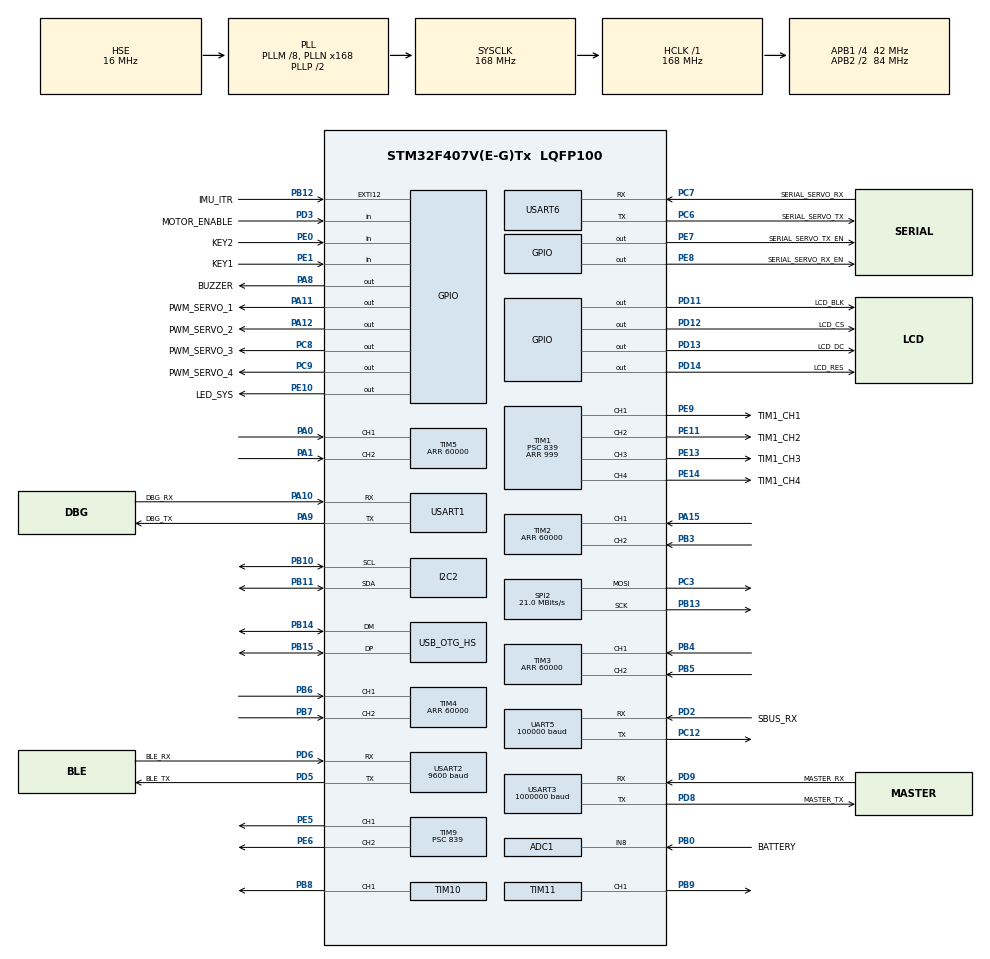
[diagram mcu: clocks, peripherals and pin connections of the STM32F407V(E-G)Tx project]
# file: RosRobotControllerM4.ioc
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ADC1.Channel-4\#ChannelRegularConversion=ADC_CHANNEL_VREFINT
ADC1.Channel-5\#ChannelRegularConversion=ADC_CHANNEL_8
ADC1.ClockPrescaler=ADC_CLOCK_SYNC_PCLK_DIV8
ADC1.ContinuousConvMode=DISABLE
ADC1.EOCSelection=ADC_EOC_SEQ_CONV
ADC1.NbrOfConversion=2
ADC1.NbrOfConversionFlag=1
ADC1.Rank-4\#ChannelRegularConversion=1
ADC1.Rank-5\#ChannelRegularConversion=2
ADC1.SamplingTime-4\#ChannelRegularConversion=ADC_SAMPLETIME_480CYCLES
ADC1.SamplingTime-5\#ChannelRegularConversion=ADC_SAMPLETIME_480CYCLES
ADC1.master=1
Dma.ADC1.8.Direction=DMA_PERIPH_TO_MEMORY
Dma.ADC1.8.FIFOMode=DMA_FIFOMODE_DISABLE
Dma.ADC1.8.Instance=DMA2_Stream0
Dma.ADC1.8.MemDataAlignment=DMA_MDATAALIGN_HALFWORD
Dma.ADC1.8.MemInc=DMA_MINC_ENABLE
Dma.ADC1.8.Mode=DMA_CIRCULAR
Dma.ADC1.8.PeriphDataAlignment=DMA_PDATAALIGN_HALFWORD
Dma.ADC1.8.PeriphInc=DMA_PINC_DISABLE
Dma.ADC1.8.Priority=DMA_PRIORITY_LOW
Dma.I2C2_RX.0.Direction=DMA_PERIPH_TO_MEMORY
Dma.I2C2_RX.0.FIFOMode=DMA_FIFOMODE_DISABLE
Dma.I2C2_RX.0.Instance=DMA1_Stream2
Dma.I2C2_RX.0.MemDataAlignment=DMA_MDATAALIGN_BYTE
Dma.I2C2_RX.0.MemInc=DMA_MINC_ENABLE
Dma.I2C2_RX.0.Mode=DMA_NORMAL
Dma.I2C2_RX.0.PeriphDataAlignment=DMA_PDATAALIGN_BYTE
Dma.I2C2_RX.0.PeriphInc=DMA_PINC_DISABLE
Dma.I2C2_RX.0.Priority=DMA_PRIORITY_VERY_HIGH
Dma.I2C2_TX.1.Direction=DMA_MEMORY_TO_PERIPH
Dma.I2C2_TX.1.FIFOMode=DMA_FIFOMODE_DISABLE
Dma.I2C2_TX.1.Instance=DMA1_Stream7
Dma.I2C2_TX.1.MemDataAlignment=DMA_MDATAALIGN_BYTE
Dma.I2C2_TX.1.MemInc=DMA_MINC_ENABLE
Dma.I2C2_TX.1.Mode=DMA_NORMAL
Dma.I2C2_TX.1.PeriphDataAlignment=DMA_PDATAALIGN_BYTE
Dma.I2C2_TX.1.PeriphInc=DMA_PINC_DISABLE
Dma.I2C2_TX.1.Priority=DMA_PRIORITY_VERY_HIGH
Dma.Request0=I2C2_RX
Dma.Request1=I2C2_TX
Dma.Request2=UART5_RX
Dma.Request3=USART3_RX
Dma.Request4=USART3_TX
Dma.Request5=SPI2_TX
Dma.Request6=USART2_RX
Dma.Request7=USART2_TX
Dma.Request8=ADC1
Dma.SPI2_TX.5.Direction=DMA_MEMORY_TO_PERIPH
Dma.SPI2_TX.5.FIFOMode=DMA_FIFOMODE_DISABLE
Dma.SPI2_TX.5.Instance=DMA1_Stream4
Dma.SPI2_TX.5.MemDataAlignment=DMA_MDATAALIGN_BYTE
Dma.SPI2_TX.5.MemInc=DMA_MINC_ENABLE
Dma.SPI2_TX.5.Mode=DMA_NORMAL
Dma.SPI2_TX.5.PeriphDataAlignment=DMA_PDATAALIGN_BYTE
Dma.SPI2_TX.5.PeriphInc=DMA_PINC_DISABLE
Dma.SPI2_TX.5.Priority=DMA_PRIORITY_LOW
Dma.UART5_RX.2.Direction=DMA_PERIPH_TO_MEMORY
Dma.UART5_RX.2.FIFOMode=DMA_FIFOMODE_DISABLE
Dma.UART5_RX.2.Instance=DMA1_Stream0
Dma.UART5_RX.2.MemDataAlignment=DMA_MDATAALIGN_BYTE
Dma.UART5_RX.2.MemInc=DMA_MINC_ENABLE
Dma.UART5_RX.2.Mode=DMA_CIRCULAR
Dma.UART5_RX.2.PeriphDataAlignment=DMA_PDATAALIGN_BYTE
Dma.UART5_RX.2.PeriphInc=DMA_PINC_DISABLE
Dma.UART5_RX.2.Priority=DMA_PRIORITY_MEDIUM
Dma.USART2_RX.6.Direction=DMA_PERIPH_TO_MEMORY
Dma.USART2_RX.6.FIFOMode=DMA_FIFOMODE_DISABLE
Dma.USART2_RX.6.Instance=DMA1_Stream5
Dma.USART2_RX.6.MemDataAlignment=DMA_MDATAALIGN_BYTE
Dma.USART2_RX.6.MemInc=DMA_MINC_ENABLE
Dma.USART2_RX.6.Mode=DMA_NORMAL
Dma.USART2_RX.6.PeriphDataAlignment=DMA_PDATAALIGN_BYTE
Dma.USART2_RX.6.PeriphInc=DMA_PINC_DISABLE
Dma.USART2_RX.6.Priority=DMA_PRIORITY_MEDIUM
Dma.USART2_TX.7.Direction=DMA_MEMORY_TO_PERIPH
Dma.USART2_TX.7.FIFOMode=DMA_FIFOMODE_DISABLE
Dma.USART2_TX.7.Instance=DMA1_Stream6
Dma.USART2_TX.7.MemDataAlignment=DMA_MDATAALIGN_BYTE
Dma.USART2_TX.7.MemInc=DMA_MINC_ENABLE
Dma.USART2_TX.7.Mode=DMA_NORMAL
Dma.USART2_TX.7.PeriphDataAlignment=DMA_PDATAALIGN_BYTE
Dma.USART2_TX.7.PeriphInc=DMA_PINC_DISABLE
Dma.USART2_TX.7.Priority=DMA_PRIORITY_MEDIUM
Dma.USART3_RX.3.Direction=DMA_PERIPH_TO_MEMORY
Dma.USART3_RX.3.FIFOMode=DMA_FIFOMODE_DISABLE
Dma.USART3_RX.3.Instance=DMA1_Stream1
Dma.USART3_RX.3.MemDataAlignment=DMA_MDATAALIGN_BYTE
Dma.USART3_RX.3.MemInc=DMA_MINC_ENABLE
Dma.USART3_RX.3.Mode=DMA_CIRCULAR
Dma.USART3_RX.3.PeriphDataAlignment=DMA_PDATAALIGN_BYTE
Dma.USART3_RX.3.PeriphInc=DMA_PINC_DISABLE
Dma.USART3_RX.3.Priority=DMA_PRIORITY_HIGH
Dma.USART3_TX.4.Direction=DMA_MEMORY_TO_PERIPH
Dma.USART3_TX.4.FIFOMode=DMA_FIFOMODE_DISABLE
Dma.USART3_TX.4.Instance=DMA1_Stream3
Dma.USART3_TX.4.MemDataAlignment=DMA_MDATAALIGN_BYTE
Dma.USART3_TX.4.MemInc=DMA_MINC_ENABLE
Dma.USART3_TX.4.Mode=DMA_NORMAL
Dma.USART3_TX.4.PeriphDataAlignment=DMA_PDATAALIGN_BYTE
Dma.USART3_TX.4.PeriphInc=DMA_PINC_DISABLE
Dma.USART3_TX.4.Priority=DMA_PRIORITY_HIGH
FREERTOS.BinarySemaphores01=packet_tx_idle,Dynamic,NULL,;packet_rx_not_empty,Dynamic,NULL,;IMU_data_ready,Dynamic,NULL,;sbus_data_ready_01_,Dynamic,NULL,;spi_tx_finished,Dynamic,NULL,;bluetooth_tx_idle,Dynamic,NULL,;serial_servo_rx_complete,Dynamic,NULL,Available
FREERTOS.Events01=sbus_data_ready_event_,Static,sbus_data_ready_event_ControlBlock
FREERTOS.INCLUDE_vTaskCleanUpResources=1
FREERTOS.INCLUDE_xEventGroupSetBitFromISR=1
FREERTOS.Queues01=packet_tx_queue,64,void*,0,Static,packet_tx_queueBuffer,packet_tx_queueControlBlock;lvgl_event_queue,16,void*,0,Static,lvgl_event_queueBuffer,lvgl_event_queueControlBlock;moving_ctrl_queue,32,char,0,Static,moving_ctrl_queueBuffer,moving_ctrl_queueControlBlock;bluetooth_tx_queue,8,8,1,Static,bluetooth_tx_queueBuffer,bluetooth_tx_queueControlBlock
FREERTOS.Tasks01=defaultTask,8,128,StartDefaultTask,Default,NULL,Static,defaultTaskBuffer,defaultTaskControlBlock;imu_task,32,128,imu_task_entry,As weak,NULL,Static,imu_taskBuffer,imu_taskControlBlock;packet_tx_task,24,128,packet_tx_task_entry,As weak,NULL,Static,packet_tx_taskBuffer,packet_tx_taskControlBlock;packet_rx_task,24,256,packet_rx_task_entry,As weak,NULL,Static,packet_rx_taskBuffer,packet_rx_taskControlBlock;sbus_rx_task,24,128,sbus_rx_task_entry,As weak,NULL,Static,sbus_rx_taskBuffer,sbus_rx_taskControlBlock;gui_task,16,512,gui_task_entry,As weak,NULL,Static,gui_taskBuffer,gui_taskControlBlock;app_task,24,512,app_task_entry,As weak,NULL,Static,app_taskBuffer,app_taskControlBlock;bluetooth_task,24,128,bluetooth_task_entry,As weak,NULL,Static,bluetooth_taskBuffer,bluetooth_taskControlBlock
FREERTOS.Timers01=button_timer,button_timer_callback,osTimerPeriodic,As weak,NULL,Static,button_timerControlBlock;led_timer,led_timer_callback,osTimerPeriodic,As weak,NULL,Static,led_timerControlBlock;lvgl_timer,lvgl_timer_callback,osTimerPeriodic,As weak,NULL,Static,lvgl_timerControlBlock;buzzer_timer,buzzer_timer_callback,osTimerPeriodic,As weak,NULL,Static,buzzer_timerControlBlock;battery_check_timer,battery_check_timer_callback,osTimerPeriodic,As weak,NULL,Static,battery_check_timerControlBlock;IMU_read_timer,IMU_read_timer_callback,osTimerPeriodic,As weak,NULL,Static,IMU_read_timerControlBlock
FREERTOS.configENABLE_FPU=1
FREERTOS.configTIMER_QUEUE_LENGTH=10
FREERTOS.configTIMER_TASK_STACK_DEPTH=6144
FREERTOS.configTOTAL_HEAP_SIZE=12288
FREERTOS.configUSE_IDLE_HOOK=1
FREERTOS.configUSE_NEWLIB_REENTRANT=0
FREERTOS.configUSE_TICK_HOOK=1
I2C2.DutyCycle=I2C_DUTYCYCLE_16_9
I2C2.I2C_Mode=I2C_Fast
Mcu.Family=STM32F4
Mcu.Name=STM32F407V(E-G)Tx
Mcu.Package=LQFP100
NVIC.DMA1_Stream0_IRQn=true\:5\:0\:false\:true\:true\:1\:true\:false\:true\:true
NVIC.DMA1_Stream1_IRQn=true\:5\:0\:false\:true\:true\:2\:true\:false\:true\:true
NVIC.DMA1_Stream2_IRQn=true\:5\:0\:false\:true\:true\:3\:true\:false\:true\:true
NVIC.DMA1_Stream3_IRQn=true\:5\:0\:false\:true\:true\:4\:true\:false\:true\:true
NVIC.DMA1_Stream4_IRQn=true\:5\:0\:false\:false\:true\:true\:true\:true\:true
NVIC.DMA1_Stream5_IRQn=true\:5\:0\:false\:false\:true\:true\:true\:true\:true
NVIC.DMA1_Stream6_IRQn=true\:5\:0\:false\:false\:true\:true\:true\:true\:true
NVIC.DMA1_Stream7_IRQn=true\:5\:0\:false\:true\:true\:9\:true\:false\:true\:true
NVIC.EXTI15_10_IRQn=true\:5\:0\:false\:true\:true\:7\:true\:true\:false\:true
NVIC.PriorityGroup=NVIC_PRIORITYGROUP_4
NVIC.TIM2_IRQn=true\:5\:0\:false\:false\:true\:true\:true\:false\:true
NVIC.TIM3_IRQn=true\:5\:0\:false\:false\:true\:true\:true\:false\:true
NVIC.TIM4_IRQn=true\:5\:0\:false\:false\:true\:true\:true\:false\:true
NVIC.TIM5_IRQn=true\:5\:0\:false\:true\:true\:10\:true\:true\:false\:true
NVIC.TIM7_IRQn=true\:5\:0\:false\:true\:true\:12\:true\:true\:false\:true
NVIC.TIM8_BRK_TIM12_IRQn=true\:5\:0\:false\:false\:true\:true\:true\:false\:true
NVIC.TIM8_TRG_COM_TIM14_IRQn=true\:0\:0\:false\:false\:true\:false\:false\:true\:true
NVIC.TIM8_UP_TIM13_IRQn=true\:5\:0\:false\:true\:true\:8\:true\:true\:false\:true
NVIC.TimeBase=TIM8_TRG_COM_TIM14_IRQn
NVIC.TimeBaseIP=TIM14
NVIC.UART5_IRQn=true\:5\:0\:true\:true\:true\:11\:true\:true\:true\:true
NVIC.USART2_IRQn=true\:5\:0\:false\:true\:true\:5\:true\:true\:true\:true
NVIC.USART3_IRQn=true\:5\:0\:false\:true\:true\:6\:true\:true\:true\:true
NVIC.USART6_IRQn=true\:5\:0\:false\:true\:true\:13\:true\:true\:true\:true
PA0-WKUP.GPIO_PuPd=GPIO_PULLUP
PA0-WKUP.GPIO_Speed=GPIO_SPEED_FREQ_VERY_HIGH
PA0-WKUP.Signal=S_TIM5_CH1
PA1.GPIO_PuPd=GPIO_PULLUP
PA1.GPIO_Speed=GPIO_SPEED_FREQ_VERY_HIGH
PA1.Signal=S_TIM5_CH2
PA10.GPIO_Label=DBG_RX
PA10.Mode=Asynchronous
PA10.Signal=USART1_RX
PA11.GPIO_Label=PWM_SERVO_1
PA11.GPIO_Speed=GPIO_SPEED_FREQ_HIGH
PA11.PinState=GPIO_PIN_RESET
PA11.Signal=GPIO_Output
PA12.GPIO_Label=PWM_SERVO_2
PA12.GPIO_Speed=GPIO_SPEED_FREQ_HIGH
PA12.Signal=GPIO_Output
PA13.Signal=SYS_JTMS-SWDIO
PA14.Signal=SYS_JTCK-SWCLK
PA15.GPIO_PuPd=GPIO_PULLUP
PA15.GPIO_Speed=GPIO_SPEED_FREQ_VERY_HIGH
PA15.Signal=S_TIM2_CH1_ETR
PA8.GPIO_Label=BUZZER
PA8.GPIO_Speed=GPIO_SPEED_FREQ_VERY_HIGH
PA8.PinState=GPIO_PIN_RESET
PA8.Signal=GPIO_Output
PA9.GPIO_Label=DBG_TX
PA9.Mode=Asynchronous
PA9.Signal=USART1_TX
PB0.GPIO_Label=BATTERY
PB0.Signal=ADCx_IN8
PB10.GPIO_Pu=GPIO_PULLUP
PB10.Mode=I2C
PB10.Signal=I2C2_SCL
PB11.GPIO_Pu=GPIO_PULLUP
PB11.Mode=I2C
PB11.Signal=I2C2_SDA
PB12.GPIO_Label=IMU_ITR
PB12.Signal=GPXTI12
PB13.Mode=TX_Only_Simplex_Unidirect_Master
PB13.Signal=SPI2_SCK
PB14.Mode=Host_FS
PB14.Signal=USB_OTG_HS_DM
PB15.Mode=Host_FS
PB15.Signal=USB_OTG_HS_DP
PB3.GPIO_PuPd=GPIO_PULLUP
PB3.GPIO_Speed=GPIO_SPEED_FREQ_VERY_HIGH
PB3.Signal=S_TIM2_CH2
PB4.GPIO_Speed=GPIO_SPEED_FREQ_VERY_HIGH
PB4.Signal=S_TIM3_CH1
PB5.GPIO_Speed=GPIO_SPEED_FREQ_VERY_HIGH
PB5.Signal=S_TIM3_CH2
PB6.Signal=S_TIM4_CH1
PB7.Signal=S_TIM4_CH2
PB8.Signal=S_TIM10_CH1
PB9.GPIO_Speed=GPIO_SPEED_FREQ_HIGH
PB9.Signal=S_TIM11_CH1
PC12.Mode=Asynchronous
PC12.Signal=UART5_TX
PC3.Mode=TX_Only_Simplex_Unidirect_Master
PC3.Signal=SPI2_MOSI
PC6.GPIO_Label=SERIAL_SERVO_TX
PC6.Mode=Asynchronous
PC6.Signal=USART6_TX
PC7.GPIO_Label=SERIAL_SERVO_RX
PC7.Mode=Asynchronous
PC7.Signal=USART6_RX
PC8.GPIO_Label=PWM_SERVO_3
PC8.GPIO_Speed=GPIO_SPEED_FREQ_HIGH
PC8.PinState=GPIO_PIN_SET
PC8.Signal=GPIO_Output
PC9.GPIO_Label=PWM_SERVO_4
PC9.GPIO_Speed=GPIO_SPEED_FREQ_HIGH
PC9.Signal=GPIO_Output
PD11.GPIO_Label=LCD_BLK
PD11.GPIO_Speed=GPIO_SPEED_FREQ_VERY_HIGH
PD11.PinState=GPIO_PIN_SET
PD11.Signal=GPIO_Output
PD12.GPIO_Label=LCD_CS
PD12.GPIO_Speed=GPIO_SPEED_FREQ_VERY_HIGH
PD12.PinState=GPIO_PIN_SET
PD12.Signal=GPIO_Output
PD13.GPIO_Label=LCD_DC
PD13.GPIO_Speed=GPIO_SPEED_FREQ_VERY_HIGH
PD13.Signal=GPIO_Output
PD14.GPIO_Label=LCD_RES
PD14.GPIO_Speed=GPIO_SPEED_FREQ_VERY_HIGH
PD14.PinState=GPIO_PIN_SET
PD14.Signal=GPIO_Output
PD2.GPIO_Label=SBUS_RX
PD2.Mode=Asynchronous
PD2.Signal=UART5_RX
PD3.GPIO_Label=MOTOR_ENABLE
PD3.Signal=GPIO_Input
PD5.GPIO_Label=BLE_TX
PD5.Mode=Asynchronous
PD5.Signal=USART2_TX
PD6.GPIO_Label=BLE_RX
PD6.Mode=Asynchronous
PD6.Signal=USART2_RX
PD8.GPIO_Label=MASTER_TX
PD8.GPIO_PuPd=GPIO_NOPULL
PD8.Mode=Asynchronous
PD8.Signal=USART3_TX
PD9.GPIO_Label=MASTER_RX
PD9.GPIO_PuPd=GPIO_NOPULL
PD9.Mode=Asynchronous
PD9.Signal=USART3_RX
PE0.GPIO_Label=KEY2
PE0.Signal=GPIO_Input
PE1.GPIO_Label=KEY1
PE1.Signal=GPIO_Input
PE10.GPIO_Label=LED_SYS
PE10.GPIO_Speed=GPIO_SPEED_FREQ_MEDIUM
PE10.PinState=GPIO_PIN_SET
PE10.Signal=GPIO_Output
PE11.GPIO_Label=TIM1_CH2
PE11.GPIO_Speed=GPIO_SPEED_FREQ_HIGH
PE11.Signal=S_TIM1_CH2
PE13.GPIO_Label=TIM1_CH3
PE13.GPIO_Speed=GPIO_SPEED_FREQ_HIGH
PE13.Signal=S_TIM1_CH3
PE14.GPIO_Label=TIM1_CH4
PE14.GPIO_Speed=GPIO_SPEED_FREQ_HIGH
PE14.Signal=S_TIM1_CH4
PE5.Signal=S_TIM9_CH1
PE6.Signal=S_TIM9_CH2
PE7.GPIO_Label=SERIAL_SERVO_TX_EN
PE7.GPIO_Speed=GPIO_SPEED_FREQ_VERY_HIGH
PE7.Signal=GPIO_Output
PE8.GPIO_Label=SERIAL_SERVO_RX_EN
PE8.GPIO_Speed=GPIO_SPEED_FREQ_VERY_HIGH
PE8.Signal=GPIO_Output
PE9.GPIO_Label=TIM1_CH1
PE9.GPIO_Speed=GPIO_SPEED_FREQ_HIGH
PE9.Signal=S_TIM1_CH1
PH0-OSC_IN.Mode=HSE-External-Oscillator
PH0-OSC_IN.Signal=RCC_OSC_IN
PH1-OSC_OUT.Mode=HSE-External-Oscillator
PH1-OSC_OUT.Signal=RCC_OSC_OUT
ProjectManager.HeapSize=0x200
ProjectManager.StackSize=0x600
ProjectManager.TargetToolchain=STM32CubeIDE
RCC.48MHZClocksFreq_Value=48000000
RCC.AHBFreq_Value=168000000
RCC.APB1CLKDivider=RCC_HCLK_DIV4
RCC.APB1Freq_Value=42000000
RCC.APB1TimFreq_Value=84000000
RCC.APB2CLKDivider=RCC_HCLK_DIV2
RCC.APB2Freq_Value=84000000
RCC.APB2TimFreq_Value=168000000
RCC.CortexFreq_Value=168000000
RCC.EnbaleCSS=true
RCC.HCLKFreq_Value=168000000
RCC.HSE_VALUE=16000000
RCC.HSI_VALUE=16000000
RCC.LSE_VALUE=32768
RCC.PLLM=8
RCC.PLLN=168
RCC.PLLQ=7
RCC.SYSCLKFreq_VALUE=168000000
RCC.SYSCLKSource=RCC_SYSCLKSOURCE_PLLCLK
RCC.VCOOutputFreq_Value=336000000
SH.ADCx_IN8.0=ADC1_IN8,IN8
SH.S_TIM10_CH1.0=TIM10_CH1,PWM Generation1 CH1
SH.S_TIM11_CH1.0=TIM11_CH1,PWM Generation1 CH1
SH.S_TIM1_CH1.0=TIM1_CH1,PWM Generation1 CH1
SH.S_TIM1_CH2.0=TIM1_CH2,PWM Generation2 CH2
SH.S_TIM1_CH3.0=TIM1_CH3,PWM Generation3 CH3
SH.S_TIM1_CH4.0=TIM1_CH4,PWM Generation4 CH4
SH.S_TIM2_CH1_ETR.0=TIM2_CH1,Encoder_Interface
SH.S_TIM2_CH2.0=TIM2_CH2,Encoder_Interface
SH.S_TIM3_CH1.0=TIM3_CH1,Encoder_Interface
SH.S_TIM3_CH2.0=TIM3_CH2,Encoder_Interface
SH.S_TIM4_CH1.0=TIM4_CH1,Encoder_Interface
SH.S_TIM4_CH2.0=TIM4_CH2,Encoder_Interface
SH.S_TIM5_CH1.0=TIM5_CH1,Encoder_Interface
SH.S_TIM5_CH2.0=TIM5_CH2,Encoder_Interface
SH.S_TIM9_CH1.0=TIM9_CH1,PWM Generation1 CH1
SH.S_TIM9_CH2.0=TIM9_CH2,PWM Generation2 CH2
SPI2.BaudRatePrescaler=SPI_BAUDRATEPRESCALER_2
SPI2.CLKPhase=SPI_PHASE_1EDGE
SPI2.CLKPolarity=SPI_POLARITY_LOW
SPI2.CalculateBaudRate=21.0 MBits/s
SPI2.DataSize=SPI_DATASIZE_8BIT
SPI2.Direction=SPI_DIRECTION_2LINES
SPI2.FirstBit=SPI_FIRSTBIT_MSB
SPI2.Mode=SPI_MODE_MASTER
SPI2.VirtualType=VM_MASTER
TIM1.AutoReloadPreload=TIM_AUTORELOAD_PRELOAD_ENABLE
TIM1.Channel-PWM\ Generation1\ CH1=TIM_CHANNEL_1
TIM1.Channel-PWM\ Generation2\ CH2=TIM_CHANNEL_2
TIM1.Channel-PWM\ Generation3\ CH3=TIM_CHANNEL_3
TIM1.Channel-PWM\ Generation4\ CH4=TIM_CHANNEL_4
TIM1.OCFastMode_PWM-PWM\ Generation1\ CH1=TIM_OCFAST_ENABLE
TIM1.OCFastMode_PWM-PWM\ Generation2\ CH2=TIM_OCFAST_ENABLE
TIM1.OCFastMode_PWM-PWM\ Generation3\ CH3=TIM_OCFAST_ENABLE
TIM1.OCFastMode_PWM-PWM\ Generation4\ CH4=TIM_OCFAST_ENABLE
TIM1.Period=999
TIM1.Prescaler=839
TIM1.Pulse-PWM\ Generation1\ CH1=0
TIM1.Pulse-PWM\ Generation2\ CH2=0
TIM1.Pulse-PWM\ Generation3\ CH3=0
TIM1.Pulse-PWM\ Generation4\ CH4=0
TIM10.AutoReloadPreload=TIM_AUTORELOAD_PRELOAD_ENABLE
TIM10.Channel=TIM_CHANNEL_1
TIM10.OCFastMode_PWM=TIM_OCFAST_ENABLE
TIM10.Period=999
TIM10.Prescaler=839
TIM11.AutoReloadPreload=TIM_AUTORELOAD_PRELOAD_ENABLE
TIM11.Channel=TIM_CHANNEL_1
TIM11.OCFastMode_PWM=TIM_OCFAST_ENABLE
TIM11.Period=999
TIM11.Prescaler=839
TIM11.Pulse=0
TIM12.AutoReloadPreload=TIM_AUTORELOAD_PRELOAD_ENABLE
TIM12.Channel-Output\ Compare1\ No\ Output=TIM_CHANNEL_1
TIM12.OC1Preload=ENABLE
TIM12.OCMode_1=TIM_OCMODE_TIMING
TIM12.Period=99
TIM12.Prescaler=839
TIM12.Pulse-Output\ Compare1\ No\ Output=50
TIM13.AutoReloadPreload=TIM_AUTORELOAD_PRELOAD_ENABLE
TIM13.Channel=TIM_CHANNEL_1
TIM13.OC1Preload=DISABLE
TIM13.Period=4999
TIM13.Prescaler=83
TIM13.Pulse=0
TIM2.AutoReloadPreload=TIM_AUTORELOAD_PRELOAD_ENABLE
TIM2.EncoderMode=TIM_ENCODERMODE_TI12
TIM2.Period=60000
TIM3.AutoReloadPreload=TIM_AUTORELOAD_PRELOAD_ENABLE
TIM3.EncoderMode=TIM_ENCODERMODE_TI12
TIM3.Period=60000
TIM4.AutoReloadPreload=TIM_AUTORELOAD_PRELOAD_ENABLE
TIM4.EncoderMode=TIM_ENCODERMODE_TI12
TIM4.Period=60000
TIM5.AutoReloadPreload=TIM_AUTORELOAD_PRELOAD_ENABLE
TIM5.EncoderMode=TIM_ENCODERMODE_TI12
TIM5.Period=60000
TIM7.AutoReloadPreload=TIM_AUTORELOAD_PRELOAD_ENABLE
TIM7.Period=9999
TIM7.Prescaler=83
TIM9.AutoReloadPreload=TIM_AUTORELOAD_PRELOAD_ENABLE
TIM9.Channel-PWM\ Generation1\ CH1=TIM_CHANNEL_1
TIM9.Channel-PWM\ Generation2\ CH2=TIM_CHANNEL_2
TIM9.OCFastMode_PWM-PWM\ Generation1\ CH1=TIM_OCFAST_ENABLE
TIM9.OCFastMode_PWM-PWM\ Generation2\ CH2=TIM_OCFAST_ENABLE
TIM9.Period=999
TIM9.Prescaler=839
UART5.BaudRate=100000
UART5.Mode=MODE_RX
UART5.Parity=PARITY_EVEN
UART5.StopBits=UART_STOPBITS_2
UART5.VirtualMode=Asynchronous
UART5.WordLength=WORDLENGTH_9B
USART1.VirtualMode=VM_ASYNC
USART2.BaudRate=9600
USART2.VirtualMode=VM_ASYNC
USART3.BaudRate=1000000
USART3.VirtualMode=VM_ASYNC
USART6.VirtualMode=VM_ASYNC
USB_OTG_HS.Sof_enable-Host_FS=DISABLE
USB_OTG_HS.VirtualMode-Host_FS=Host_FS
USB_OTG_HS.dma_enable-Host_FS=DISABLE
VP_ADC1_Vref_Input.Mode=IN-Vrefint
VP_CRC_VS_CRC.Mode=CRC_Activate
VP_FREERTOS_VS_CMSIS_V2.Mode=CMSIS_V2
VP_SYS_VS_tim14.Mode=TIM14
VP_TIM10_VS_ClockSourceINT.Mode=Enable_Timer
VP_TIM11_VS_ClockSourceINT.Mode=Enable_Timer
VP_TIM12_VS_ClockSourceINT.Mode=Internal
VP_TIM12_VS_no_output1.Mode=Output Compare1 No Output
VP_TIM13_VS_ClockSourceINT.Mode=Enable_Timer
VP_TIM13_VS_no_output1.Mode=Output Compare1 No Output
VP_TIM1_VS_ClockSourceINT.Mode=Internal
VP_TIM7_VS_ClockSourceINT.Mode=Enable_Timer
VP_TIM9_VS_ClockSourceINT.Mode=Internal
board=custom

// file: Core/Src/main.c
/* USER CODE BEGIN Header */
/**
  ******************************************************************************
  * @file           : main.c
  * @brief          : Main program body
  ******************************************************************************
  * @attention
  *
  * <h2><center>&copy; Copyright (c) 2023 STMicroelectronics.
  * All rights reserved.</center></h2>
  *
  * This software component is licensed by ST under BSD 3-Clause license,
  * the "License"; You may not use this file except in compliance with the
  * License. You may obtain a copy of the License at:
  *                        opensource.org/licenses/BSD-3-Clause
  *
  * ********************************************
  *   main()函数，单片机入口函数
  *
  *   ! ! ! 注意
  *   该工程使用了 FreeRTOS系统
  *   用户的入口函数在 Hiwonder/System文件夹中的app.c文件中的app_task_entry()线程任务�?
  *   �?要其他线程任务，则需创建其他线程（建议在STM32CubeMX软件中创建）
  *
  *   ! ! ! 注意
  *   在CubeMX中创建的文件中，
  *   用户程序与注�? 都需要写在以下注释的中间，才不会在使用CubeMX更改配置之后，导致用户程序被覆盖�? !!!
  *   (若不使用CubeMX软件，则可跳过该�?)
  *
  *   / * USER CODE BEGIN xxx * /
  *   //用户程序
  *   / * USER CODE END xxx * /
  *
  *
  * ********************************************
  *
  ******************************************************************************
  */
/* USER CODE END Header */
#include "main.h"
#include "cmsis_os.h"
#include "adc.h"
#include "crc.h"
#include "dma.h"
#include "i2c.h"
#include "spi.h"
#include "tim.h"
#include "usart.h"
#include "usb_otg.h"
#include "gpio.h"

/* USER CODE BEGIN Includes */
#include "lwmem_porting.h"
#include "log.h"
#include <stdio.h>
/* USER CODE END Includes */

void SystemClock_Config(void);
void MX_FREERTOS_Init(void);
static void MX_NVIC_Init(void);

int main(void)
{

  /* USER CODE BEGIN 1 */
  //��־��ӡ���ܳ�ʼ��
  LOG_INIT();
  lwmem_assignmem(lwmem_regions);  /* ��̬�ڴ��ʼ�� */
  /* USER CODE END 1 */

  /* MCU Configuration--------------------------------------------------------*/

  /* Reset of all peripherals, Initializes the Flash interface and the Systick. */
  HAL_Init();

  /* Configure the system clock */
  SystemClock_Config();

  /* USER CODE BEGIN SysInit */
    //����IIC1
    __HAL_RCC_I2C1_CLK_ENABLE();
    //����DMA����
    __HAL_RCC_DMA1_CLK_ENABLE();
  /* USER CODE END SysInit */

  /* Initialize all configured peripherals */
  MX_GPIO_Init();
  MX_DMA_Init();
  MX_USART1_UART_Init();
  MX_SPI2_Init();
  MX_TIM1_Init();
  MX_TIM2_Init();
  MX_TIM5_Init();
  MX_TIM9_Init();
  MX_TIM10_Init();
  MX_TIM11_Init();
  MX_I2C2_Init();
  MX_UART5_Init();
  MX_USART2_UART_Init();
  MX_USART3_UART_Init();
  MX_USART6_UART_Init();
  MX_TIM7_Init();
  MX_TIM3_Init();
  MX_TIM4_Init();
  MX_TIM13_Init();
  MX_CRC_Init();
  MX_TIM12_Init();
  MX_ADC1_Init();
  MX_USB_OTG_HS_HCD_Init();

  /* Initialize interrupts */
  MX_NVIC_Init();
  /* USER CODE BEGIN 2 */
  //��ӡ��Ϣ����printf()�������÷�һ�����ܹ����ݵȼ�����������־���
  LOG_DEBUG("Start...\r\n");
  /* USER CODE END 2 */

  /* Init scheduler */
  osKernelInitialize();

  /* Call init function for freertos objects (in cmsis_os2.c) */
  MX_FREERTOS_Init();

  /* Start scheduler */
  osKernelStart();

  /* We should never get here as control is now taken by the scheduler */

  /* Infinite loop */
    while (1) {

    }
}

void SystemClock_Config(void)
{
  RCC_OscInitTypeDef RCC_OscInitStruct = {0};
  RCC_ClkInitTypeDef RCC_ClkInitStruct = {0};

  /** Configure the main internal regulator output voltage
  */
  __HAL_RCC_PWR_CLK_ENABLE();
  __HAL_PWR_VOLTAGESCALING_CONFIG(PWR_REGULATOR_VOLTAGE_SCALE1);

  /** Initializes the RCC Oscillators according to the specified parameters
  * in the RCC_OscInitTypeDef structure.
  */
  RCC_OscInitStruct.OscillatorType = RCC_OSCILLATORTYPE_HSE;
  RCC_OscInitStruct.HSEState = RCC_HSE_ON;
  RCC_OscInitStruct.PLL.PLLState = RCC_PLL_ON;
  RCC_OscInitStruct.PLL.PLLSource = RCC_PLLSOURCE_HSE;
  RCC_OscInitStruct.PLL.PLLM = 8;
  RCC_OscInitStruct.PLL.PLLN = 168;
  RCC_OscInitStruct.PLL.PLLP = RCC_PLLP_DIV2;
  RCC_OscInitStruct.PLL.PLLQ = 7;
  if (HAL_RCC_OscConfig(&RCC_OscInitStruct) != HAL_OK)
  {
    Error_Handler();
  }

  /** Initializes the CPU, AHB and APB buses clocks
  */
  RCC_ClkInitStruct.ClockType = RCC_CLOCKTYPE_HCLK|RCC_CLOCKTYPE_SYSCLK
                              |RCC_CLOCKTYPE_PCLK1|RCC_CLOCKTYPE_PCLK2;
  RCC_ClkInitStruct.SYSCLKSource = RCC_SYSCLKSOURCE_PLLCLK;
  RCC_ClkInitStruct.AHBCLKDivider = RCC_SYSCLK_DIV1;
  RCC_ClkInitStruct.APB1CLKDivider = RCC_HCLK_DIV4;
  RCC_ClkInitStruct.APB2CLKDivider = RCC_HCLK_DIV2;

  if (HAL_RCC_ClockConfig(&RCC_ClkInitStruct, FLASH_LATENCY_5) != HAL_OK)
  {
    Error_Handler();
  }

  /** Enables the Clock Security System
  */
  HAL_RCC_EnableCSS();
}

/**
  * @brief NVIC Configuration.
  * @retval None
  */
static void MX_NVIC_Init(void)
{
  /* DMA1_Stream0_IRQn interrupt configuration */
  HAL_NVIC_SetPriority(DMA1_Stream0_IRQn, 5, 0);
  HAL_NVIC_EnableIRQ(DMA1_Stream0_IRQn);
  /* DMA1_Stream1_IRQn interrupt configuration */
  HAL_NVIC_SetPriority(DMA1_Stream1_IRQn, 5, 0);
  HAL_NVIC_EnableIRQ(DMA1_Stream1_IRQn);
  /* DMA1_Stream2_IRQn interrupt configuration */
  HAL_NVIC_SetPriority(DMA1_Stream2_IRQn, 5, 0);
  HAL_NVIC_EnableIRQ(DMA1_Stream2_IRQn);
  /* DMA1_Stream3_IRQn interrupt configuration */
  HAL_NVIC_SetPriority(DMA1_Stream3_IRQn, 5, 0);
  HAL_NVIC_EnableIRQ(DMA1_Stream3_IRQn);
  /* USART2_IRQn interrupt configuration */
  HAL_NVIC_SetPriority(USART2_IRQn, 5, 0);
  HAL_NVIC_EnableIRQ(USART2_IRQn);
  /* USART3_IRQn interrupt configuration */
  HAL_NVIC_SetPriority(USART3_IRQn, 5, 0);
  HAL_NVIC_EnableIRQ(USART3_IRQn);
  /* EXTI15_10_IRQn interrupt configuration */
  HAL_NVIC_SetPriority(EXTI15_10_IRQn, 5, 0);
  HAL_NVIC_EnableIRQ(EXTI15_10_IRQn);
  /* TIM8_UP_TIM13_IRQn interrupt configuration */
  HAL_NVIC_SetPriority(TIM8_UP_TIM13_IRQn, 5, 0);
  HAL_NVIC_EnableIRQ(TIM8_UP_TIM13_IRQn);
  /* DMA1_Stream7_IRQn interrupt configuration */
  HAL_NVIC_SetPriority(DMA1_Stream7_IRQn, 5, 0);
  HAL_NVIC_EnableIRQ(DMA1_Stream7_IRQn);
  /* TIM5_IRQn interrupt configuration */
  HAL_NVIC_SetPriority(TIM5_IRQn, 5, 0);
  HAL_NVIC_EnableIRQ(TIM5_IRQn);
  /* UART5_IRQn interrupt configuration */
  HAL_NVIC_SetPriority(UART5_IRQn, 5, 0);
  HAL_NVIC_EnableIRQ(UART5_IRQn);
  /* TIM7_IRQn interrupt configuration */
  HAL_NVIC_SetPriority(TIM7_IRQn, 5, 0);
  HAL_NVIC_EnableIRQ(TIM7_IRQn);
  /* USART6_IRQn interrupt configuration */
  HAL_NVIC_SetPriority(USART6_IRQn, 5, 0);
  HAL_NVIC_EnableIRQ(USART6_IRQn);
}

void HAL_TIM_PeriodElapsedCallback(TIM_HandleTypeDef *htim)
{
  if (htim->Instance == TIM14) {
    HAL_IncTick();
  }
}

void Error_Handler(void)
{
    __disable_irq();
    while (1) {
    }
}

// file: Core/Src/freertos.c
/* USER CODE BEGIN Header */
/**
  ******************************************************************************
  * File Name          : freertos.c
  * Description        : Code for freertos applications
  ******************************************************************************
  * @attention
  *
  * <h2><center>&copy; Copyright (c) 2023 STMicroelectronics.
  * All rights reserved.</center></h2>
  *
  * This software component is licensed by ST under Ultimate Liberty license
  * SLA0044, the "License"; You may not use this file except in compliance with
  * the License. You may obtain a copy of the License at:
  *                             www.st.com/SLA0044
  *
  ******************************************************************************
  */
/* USER CODE END Header */

#include "FreeRTOS.h"
#include "task.h"
#include "main.h"
#include "cmsis_os.h"
#include "tim.h"

/* USER CODE BEGIN Includes */
#include "lvgl.h"
/* USER CODE END Includes */

typedef StaticTask_t osStaticThreadDef_t;
typedef StaticQueue_t osStaticMessageQDef_t;
typedef StaticTimer_t osStaticTimerDef_t;
typedef StaticEventGroup_t osStaticEventGroupDef_t;

/* Definitions for defaultTask */
osThreadId_t defaultTaskHandle;
uint32_t defaultTaskBuffer[ 128 ];
osStaticThreadDef_t defaultTaskControlBlock;
const osThreadAttr_t defaultTask_attributes = {
  .name = "defaultTask",
  .cb_mem = &defaultTaskControlBlock,
  .cb_size = sizeof(defaultTaskControlBlock),
  .stack_mem = &defaultTaskBuffer[0],
  .stack_size = sizeof(defaultTaskBuffer),
  .priority = (osPriority_t) osPriorityLow,
};
/* Definitions for imu_task */
osThreadId_t imu_taskHandle;
uint32_t imu_taskBuffer[ 128 ];
osStaticThreadDef_t imu_taskControlBlock;
const osThreadAttr_t imu_task_attributes = {
  .name = "imu_task",
  .cb_mem = &imu_taskControlBlock,
  .cb_size = sizeof(imu_taskControlBlock),
  .stack_mem = &imu_taskBuffer[0],
  .stack_size = sizeof(imu_taskBuffer),
  .priority = (osPriority_t) osPriorityAboveNormal,
};
/* Definitions for packet_tx_task */
osThreadId_t packet_tx_taskHandle;
uint32_t packet_tx_taskBuffer[ 128 ];
osStaticThreadDef_t packet_tx_taskControlBlock;
const osThreadAttr_t packet_tx_task_attributes = {
  .name = "packet_tx_task",
  .cb_mem = &packet_tx_taskControlBlock,
  .cb_size = sizeof(packet_tx_taskControlBlock),
  .stack_mem = &packet_tx_taskBuffer[0],
  .stack_size = sizeof(packet_tx_taskBuffer),
  .priority = (osPriority_t) osPriorityNormal,
};
/* Definitions for packet_rx_task */
osThreadId_t packet_rx_taskHandle;
uint32_t packet_rx_taskBuffer[ 256 ];
osStaticThreadDef_t packet_rx_taskControlBlock;
const osThreadAttr_t packet_rx_task_attributes = {
  .name = "packet_rx_task",
  .cb_mem = &packet_rx_taskControlBlock,
  .cb_size = sizeof(packet_rx_taskControlBlock),
  .stack_mem = &packet_rx_taskBuffer[0],
  .stack_size = sizeof(packet_rx_taskBuffer),
  .priority = (osPriority_t) osPriorityNormal,
};
/* Definitions for sbus_rx_task */
osThreadId_t sbus_rx_taskHandle;
uint32_t sbus_rx_taskBuffer[ 128 ];
osStaticThreadDef_t sbus_rx_taskControlBlock;
const osThreadAttr_t sbus_rx_task_attributes = {
  .name = "sbus_rx_task",
  .cb_mem = &sbus_rx_taskControlBlock,
  .cb_size = sizeof(sbus_rx_taskControlBlock),
  .stack_mem = &sbus_rx_taskBuffer[0],
  .stack_size = sizeof(sbus_rx_taskBuffer),
  .priority = (osPriority_t) osPriorityNormal,
};
/* Definitions for gui_task */
osThreadId_t gui_taskHandle;
uint32_t gui_taskBuffer[ 512 ];
osStaticThreadDef_t gui_taskControlBlock;
const osThreadAttr_t gui_task_attributes = {
  .name = "gui_task",
  .cb_mem = &gui_taskControlBlock,
  .cb_size = sizeof(gui_taskControlBlock),
  .stack_mem = &gui_taskBuffer[0],
  .stack_size = sizeof(gui_taskBuffer),
  .priority = (osPriority_t) osPriorityBelowNormal,
};
/* Definitions for app_task */
osThreadId_t app_taskHandle;
uint32_t app_taskBuffer[ 512 ];
osStaticThreadDef_t app_taskControlBlock;
const osThreadAttr_t app_task_attributes = {
  .name = "app_task",
  .cb_mem = &app_taskControlBlock,
  .cb_size = sizeof(app_taskControlBlock),
  .stack_mem = &app_taskBuffer[0],
  .stack_size = sizeof(app_taskBuffer),
  .priority = (osPriority_t) osPriorityNormal,
};
/* Definitions for bluetooth_task */
osThreadId_t bluetooth_taskHandle;
uint32_t bluetooth_taskBuffer[ 128 ];
osStaticThreadDef_t bluetooth_taskControlBlock;
const osThreadAttr_t bluetooth_task_attributes = {
  .name = "bluetooth_task",
  .cb_mem = &bluetooth_taskControlBlock,
  .cb_size = sizeof(bluetooth_taskControlBlock),
  .stack_mem = &bluetooth_taskBuffer[0],
  .stack_size = sizeof(bluetooth_taskBuffer),
  .priority = (osPriority_t) osPriorityNormal,
};
/* Definitions for packet_tx_queue */
osMessageQueueId_t packet_tx_queueHandle;
uint8_t packet_tx_queueBuffer[ 64 * sizeof( void* ) ];
osStaticMessageQDef_t packet_tx_queueControlBlock;
const osMessageQueueAttr_t packet_tx_queue_attributes = {
  .name = "packet_tx_queue",
  .cb_mem = &packet_tx_queueControlBlock,
  .cb_size = sizeof(packet_tx_queueControlBlock),
  .mq_mem = &packet_tx_queueBuffer,
  .mq_size = sizeof(packet_tx_queueBuffer)
};
/* Definitions for lvgl_event_queue */
osMessageQueueId_t lvgl_event_queueHandle;
uint8_t lvgl_event_queueBuffer[ 16 * sizeof( void* ) ];
osStaticMessageQDef_t lvgl_event_queueControlBlock;
const osMessageQueueAttr_t lvgl_event_queue_attributes = {
  .name = "lvgl_event_queue",
  .cb_mem = &lvgl_event_queueControlBlock,
  .cb_size = sizeof(lvgl_event_queueControlBlock),
  .mq_mem = &lvgl_event_queueBuffer,
  .mq_size = sizeof(lvgl_event_queueBuffer)
};
/* Definitions for moving_ctrl_queue */
osMessageQueueId_t moving_ctrl_queueHandle;
uint8_t moving_ctrl_queueBuffer[ 32 * sizeof( char ) ];
osStaticMessageQDef_t moving_ctrl_queueControlBlock;
const osMessageQueueAttr_t moving_ctrl_queue_attributes = {
  .name = "moving_ctrl_queue",
  .cb_mem = &moving_ctrl_queueControlBlock,
  .cb_size = sizeof(moving_ctrl_queueControlBlock),
  .mq_mem = &moving_ctrl_queueBuffer,
  .mq_size = sizeof(moving_ctrl_queueBuffer)
};
/* Definitions for bluetooth_tx_queue */
osMessageQueueId_t bluetooth_tx_queueHandle;
uint8_t bluetooth_tx_queueBuffer[ 8 * 8 ];
osStaticMessageQDef_t bluetooth_tx_queueControlBlock;
const osMessageQueueAttr_t bluetooth_tx_queue_attributes = {
  .name = "bluetooth_tx_queue",
  .cb_mem = &bluetooth_tx_queueControlBlock,
  .cb_size = sizeof(bluetooth_tx_queueControlBlock),
  .mq_mem = &bluetooth_tx_queueBuffer,
  .mq_size = sizeof(bluetooth_tx_queueBuffer)
};
/* Definitions for button_timer */
osTimerId_t button_timerHandle;
osStaticTimerDef_t button_timerControlBlock;
const osTimerAttr_t button_timer_attributes = {
  .name = "button_timer",
  .cb_mem = &button_timerControlBlock,
  .cb_size = sizeof(button_timerControlBlock),
};
/* Definitions for led_timer */
osTimerId_t led_timerHandle;
osStaticTimerDef_t led_timerControlBlock;
const osTimerAttr_t led_timer_attributes = {
  .name = "led_timer",
  .cb_mem = &led_timerControlBlock,
  .cb_size = sizeof(led_timerControlBlock),
};
/* Definitions for lvgl_timer */
osTimerId_t lvgl_timerHandle;
osStaticTimerDef_t lvgl_timerControlBlock;
const osTimerAttr_t lvgl_timer_attributes = {
  .name = "lvgl_timer",
  .cb_mem = &lvgl_timerControlBlock,
  .cb_size = sizeof(lvgl_timerControlBlock),
};
/* Definitions for buzzer_timer */
osTimerId_t buzzer_timerHandle;
osStaticTimerDef_t buzzer_timerControlBlock;
const osTimerAttr_t buzzer_timer_attributes = {
  .name = "buzzer_timer",
  .cb_mem = &buzzer_timerControlBlock,
  .cb_size = sizeof(buzzer_timerControlBlock),
};
/* Definitions for battery_check_timer */
osTimerId_t battery_check_timerHandle;
osStaticTimerDef_t battery_check_timerControlBlock;
const osTimerAttr_t battery_check_timer_attributes = {
  .name = "battery_check_timer",
  .cb_mem = &battery_check_timerControlBlock,
  .cb_size = sizeof(battery_check_timerControlBlock),
};
/* Definitions for IMU_read_timer */
osTimerId_t IMU_read_timerHandle;
osStaticTimerDef_t IMU_read_timerControlBlock;
const osTimerAttr_t IMU_read_timer_attributes = {
  .name = "IMU_read_timer",
  .cb_mem = &IMU_read_timerControlBlock,
  .cb_size = sizeof(IMU_read_timerControlBlock),
};
/* Definitions for packet_tx_idle */
osSemaphoreId_t packet_tx_idleHandle;
const osSemaphoreAttr_t packet_tx_idle_attributes = {
  .name = "packet_tx_idle"
};
/* Definitions for packet_rx_not_empty */
osSemaphoreId_t packet_rx_not_emptyHandle;
const osSemaphoreAttr_t packet_rx_not_empty_attributes = {
  .name = "packet_rx_not_empty"
};
/* Definitions for IMU_data_ready */
osSemaphoreId_t IMU_data_readyHandle;
const osSemaphoreAttr_t IMU_data_ready_attributes = {
  .name = "IMU_data_ready"
};
/* Definitions for sbus_data_ready_01_ */
osSemaphoreId_t sbus_data_ready_01_Handle;
const osSemaphoreAttr_t sbus_data_ready_01__attributes = {
  .name = "sbus_data_ready_01_"
};
/* Definitions for spi_tx_finished */
osSemaphoreId_t spi_tx_finishedHandle;
const osSemaphoreAttr_t spi_tx_finished_attributes = {
  .name = "spi_tx_finished"
};
/* Definitions for bluetooth_tx_idle */
osSemaphoreId_t bluetooth_tx_idleHandle;
const osSemaphoreAttr_t bluetooth_tx_idle_attributes = {
  .name = "bluetooth_tx_idle"
};
/* Definitions for serial_servo_rx_complete */
osSemaphoreId_t serial_servo_rx_completeHandle;
const osSemaphoreAttr_t serial_servo_rx_complete_attributes = {
  .name = "serial_servo_rx_complete"
};
/* Definitions for sbus_data_ready_event_ */
osEventFlagsId_t sbus_data_ready_event_Handle;
osStaticEventGroupDef_t sbus_data_ready_event_ControlBlock;
const osEventFlagsAttr_t sbus_data_ready_event__attributes = {
  .name = "sbus_data_ready_event_",
  .cb_mem = &sbus_data_ready_event_ControlBlock,
  .cb_size = sizeof(sbus_data_ready_event_ControlBlock),
};

void StartDefaultTask(void *argument);
void imu_task_entry(void *argument);
void packet_tx_task_entry(void *argument);
void packet_rx_task_entry(void *argument);
void sbus_rx_task_entry(void *argument);
void gui_task_entry(void *argument);
void app_task_entry(void *argument);
void bluetooth_task_entry(void *argument);
void button_timer_callback(void *argument);
void led_timer_callback(void *argument);
void lvgl_timer_callback(void *argument);
void buzzer_timer_callback(void *argument);
void battery_check_timer_callback(void *argument);
void IMU_read_timer_callback(void *argument);

void MX_FREERTOS_Init(void); /* (MISRA C 2004 rule 8.1) */

/* Hook prototypes */
void vApplicationIdleHook(void);
void vApplicationTickHook(void);

/* USER CODE BEGIN 2 */
void vApplicationIdleHook( void )
{
    /* vApplicationIdleHook() will only be called if configUSE_IDLE_HOOK is set
    to 1 in FreeRTOSConfig.h. It will be called on each iteration of the idle
    task. It is essential that code added to this hook function never attempts
    to block in any way (for example, call xQueueReceive() with a block time
    specified, or call vTaskDelay()). If the application makes use of the
    vTaskDelete() API function (as this demo application does) then it is also
    important that vApplicationIdleHook() is permitted to return to its calling
    function, because it is the responsibility of the idle task to clean up
    memory allocated by the kernel to any task that has since been deleted. */
}
/* USER CODE END 2 */

/* USER CODE BEGIN 3 */
void vApplicationTickHook( void )
{
    /* This function will be called by each tick interrupt if
    configUSE_TICK_HOOK is set to 1 in FreeRTOSConfig.h. User code can be
    added here, but the tick hook is called from an interrupt context, so
    code must not attempt to block, and only the interrupt safe FreeRTOS API
    functions can be used (those that end in FromISR()). */
    lv_tick_inc(1);
}
/* USER CODE END 3 */

void MX_FREERTOS_Init(void) {

  /* Create the semaphores(s) */
  /* creation of packet_tx_idle */
  packet_tx_idleHandle = osSemaphoreNew(1, 0, &packet_tx_idle_attributes);

  /* creation of packet_rx_not_empty */
  packet_rx_not_emptyHandle = osSemaphoreNew(1, 0, &packet_rx_not_empty_attributes);

  /* creation of IMU_data_ready */
  IMU_data_readyHandle = osSemaphoreNew(1, 0, &IMU_data_ready_attributes);

  /* creation of sbus_data_ready_01_ */
  sbus_data_ready_01_Handle = osSemaphoreNew(1, 0, &sbus_data_ready_01__attributes);

  /* creation of spi_tx_finished */
  spi_tx_finishedHandle = osSemaphoreNew(1, 0, &spi_tx_finished_attributes);

  /* creation of bluetooth_tx_idle */
  bluetooth_tx_idleHandle = osSemaphoreNew(1, 0, &bluetooth_tx_idle_attributes);

  /* creation of serial_servo_rx_complete */
  serial_servo_rx_completeHandle = osSemaphoreNew(1, 1, &serial_servo_rx_complete_attributes);

  /* Create the timer(s) */
  /* creation of button_timer */
  button_timerHandle = osTimerNew(button_timer_callback, osTimerPeriodic, NULL, &button_timer_attributes);

  /* creation of led_timer */
  led_timerHandle = osTimerNew(led_timer_callback, osTimerPeriodic, NULL, &led_timer_attributes);

  /* creation of lvgl_timer */
  lvgl_timerHandle = osTimerNew(lvgl_timer_callback, osTimerPeriodic, NULL, &lvgl_timer_attributes);

  /* creation of buzzer_timer */
  buzzer_timerHandle = osTimerNew(buzzer_timer_callback, osTimerPeriodic, NULL, &buzzer_timer_attributes);

  /* creation of battery_check_timer */
  battery_check_timerHandle = osTimerNew(battery_check_timer_callback, osTimerPeriodic, NULL, &battery_check_timer_attributes);

  /* creation of IMU_read_timer */
  IMU_read_timerHandle = osTimerNew(IMU_read_timer_callback, osTimerPeriodic, NULL, &IMU_read_timer_attributes);

  /* Create the queue(s) */
  /* creation of packet_tx_queue */
  packet_tx_queueHandle = osMessageQueueNew (64, sizeof(void*), &packet_tx_queue_attributes);

  /* creation of lvgl_event_queue */
  lvgl_event_queueHandle = osMessageQueueNew (16, sizeof(void*), &lvgl_event_queue_attributes);

  /* creation of moving_ctrl_queue */
  moving_ctrl_queueHandle = osMessageQueueNew (32, sizeof(char), &moving_ctrl_queue_attributes);

  /* creation of bluetooth_tx_queue */
  bluetooth_tx_queueHandle = osMessageQueueNew (8, 8, &bluetooth_tx_queue_attributes);

  /* Create the thread(s) */
  /* creation of defaultTask */
  defaultTaskHandle = osThreadNew(StartDefaultTask, NULL, &defaultTask_attributes);

  /* creation of imu_task */
  imu_taskHandle = osThreadNew(imu_task_entry, NULL, &imu_task_attributes);

  /* creation of packet_tx_task */
  packet_tx_taskHandle = osThreadNew(packet_tx_task_entry, NULL, &packet_tx_task_attributes);

  /* creation of packet_rx_task */
  packet_rx_taskHandle = osThreadNew(packet_rx_task_entry, NULL, &packet_rx_task_attributes);

  /* creation of sbus_rx_task */
  sbus_rx_taskHandle = osThreadNew(sbus_rx_task_entry, NULL, &sbus_rx_task_attributes);

  /* creation of gui_task */
  gui_taskHandle = osThreadNew(gui_task_entry, NULL, &gui_task_attributes);

  /* creation of app_task */
  app_taskHandle = osThreadNew(app_task_entry, NULL, &app_task_attributes);

  /* creation of bluetooth_task */
  bluetooth_taskHandle = osThreadNew(bluetooth_task_entry, NULL, &bluetooth_task_attributes);

  /* Create the event(s) */
  /* creation of sbus_data_ready_event_ */
  sbus_data_ready_event_Handle = osEventFlagsNew(&sbus_data_ready_event__attributes);

}

void StartDefaultTask(void *argument)
{
    for(;;) {
        osDelay(1);
    }
}

__weak void imu_task_entry(void *argument)
{
    for(;;) {
        osDelay(1);
    }
}

__weak void packet_tx_task_entry(void *argument)
{
    for(;;) {
        osDelay(1);
    }
}

__weak void packet_rx_task_entry(void *argument)
{
    for(;;) {
        osDelay(1);
    }
}

__weak void sbus_rx_task_entry(void *argument)
{
    for(;;) {
        osDelay(1);
    }
}

__weak void gui_task_entry(void *argument)
{
  for(;;)
  {
    osDelay(1);
  }
}

__weak void app_task_entry(void *argument)
{
  /* USER CODE BEGIN app_task_entry */
	  // 1) 啟動所有 PWM 輸出
	  HAL_TIM_PWM_Start(&htim1, TIM_CHANNEL_1); // PE9
	  HAL_TIM_PWM_Start(&htim1, TIM_CHANNEL_2); // PE11
	  HAL_TIM_PWM_Start(&htim1, TIM_CHANNEL_3); // PE13
	  HAL_TIM_PWM_Start(&htim1, TIM_CHANNEL_4); // PE14
	  HAL_TIM_PWM_Start(&htim9, TIM_CHANNEL_1); // PE5
	  HAL_TIM_PWM_Start(&htim9, TIM_CHANNEL_2); // PE6
	  HAL_TIM_PWM_Start(&htim10, TIM_CHANNEL_1); // PB8
	  HAL_TIM_PWM_Start(&htim11, TIM_CHANNEL_1); // PB9

	  // 2) 啟動所有 Encoder（之後你可讀 CNT 值）
	  HAL_TIM_Encoder_Start(&htim2, TIM_CHANNEL_ALL);
	  HAL_TIM_Encoder_Start(&htim3, TIM_CHANNEL_ALL);
	  HAL_TIM_Encoder_Start(&htim4, TIM_CHANNEL_ALL);
	  HAL_TIM_Encoder_Start(&htim5, TIM_CHANNEL_ALL);

	  // 3) 檢查板上實體電機開關（若為低，提醒一下）
	  if (HAL_GPIO_ReadPin(MOTOR_ENABLE_GPIO_Port, MOTOR_ENABLE_Pin) == GPIO_PIN_RESET) {
		// 這通常表示「電機控制開關」未打開；你可以在這裡閃 LED 或蜂鳴提醒
		// HAL_GPIO_TogglePin(LED_SYS_GPIO_Port, LED_SYS_Pin);
	  }

	  // 4) 設定 50% duty（ARR=999）
	  const uint32_t duty = 500;

	  // *** 假設配對（每輪兩路）：把一邊=50%、另一邊=0% 代表「前進」 ***
	  // Motor LF:  TIM1_CH1(+), TIM1_CH2(-)

	  // 讓它轉 1 秒
	  osDelay(1000);

	  // 停止：全部 duty = 0
	  __HAL_TIM_SET_COMPARE(&htim1, TIM_CHANNEL_1, 0);
	  __HAL_TIM_SET_COMPARE(&htim1, TIM_CHANNEL_2, 0);
	  __HAL_TIM_SET_COMPARE(&htim1, TIM_CHANNEL_3, 0);
	  __HAL_TIM_SET_COMPARE(&htim1, TIM_CHANNEL_4, 0);
	  __HAL_TIM_SET_COMPARE(&htim9, TIM_CHANNEL_1, 0);
	  __HAL_TIM_SET_COMPARE(&htim9, TIM_CHANNEL_2, 0);
	  __HAL_TIM_SET_COMPARE(&htim10, TIM_CHANNEL_1, 0);
	  __HAL_TIM_SET_COMPARE(&htim11, TIM_CHANNEL_1, 0);
  /* Infinite loop */
//  for(;;)
//  {
//    osDelay(1);
//  }
  /* USER CODE END app_task_entry */
}

__weak void bluetooth_task_entry(void *argument)
{
  for(;;)
  {
    osDelay(1);
  }
}

/* button_timer_callback function */
__weak void button_timer_callback(void *argument)
{
}

/* led_timer_callback function */
__weak void led_timer_callback(void *argument)
{
}

/* lvgl_timer_callback function */
__weak void lvgl_timer_callback(void *argument)
{
}

/* buzzer_timer_callback function */
__weak void buzzer_timer_callback(void *argument)
{
}

/* battery_check_timer_callback function */
__weak void battery_check_timer_callback(void *argument)
{
}

/* IMU_read_timer_callback function */
__weak void IMU_read_timer_callback(void *argument)
{
}
